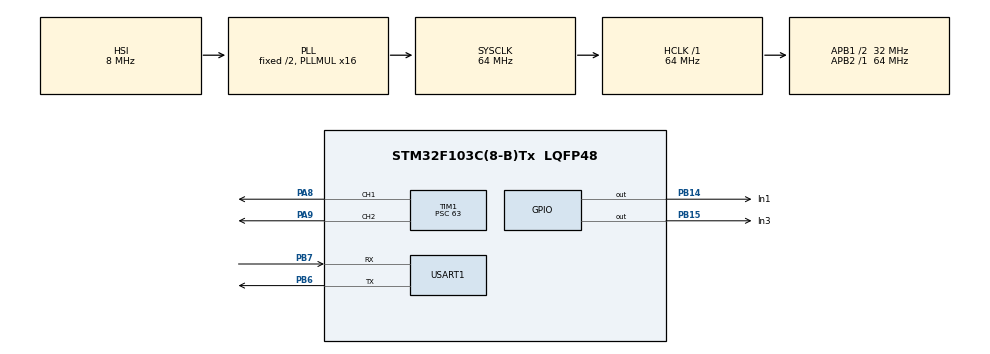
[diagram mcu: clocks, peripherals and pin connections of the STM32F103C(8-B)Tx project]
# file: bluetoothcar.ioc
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Mcu.Family=STM32F1
Mcu.Name=STM32F103C(8-B)Tx
Mcu.Package=LQFP48
NVIC.PriorityGroup=NVIC_PRIORITYGROUP_4
NVIC.USART1_IRQn=true\:1\:0\:true\:false\:true\:true\:true\:true
PA13.Mode=Serial_Wire
PA13.Signal=SYS_JTMS-SWDIO
PA14.Mode=Serial_Wire
PA14.Signal=SYS_JTCK-SWCLK
PA8.Signal=S_TIM1_CH1
PA9.Signal=S_TIM1_CH2
PB14.GPIO_Label=In1
PB14.Signal=GPIO_Output
PB15.GPIO_Label=In3
PB15.Signal=GPIO_Output
PB6.Mode=Asynchronous
PB6.Signal=USART1_TX
PB7.Mode=Asynchronous
PB7.Signal=USART1_RX
ProjectManager.HeapSize=0x200
ProjectManager.StackSize=0x400
ProjectManager.TargetToolchain=STM32CubeIDE
RCC.AHBFreq_Value=64000000
RCC.APB1CLKDivider=RCC_HCLK_DIV2
RCC.APB1Freq_Value=32000000
RCC.APB1TimFreq_Value=64000000
RCC.APB2Freq_Value=64000000
RCC.APB2TimFreq_Value=64000000
RCC.HCLKFreq_Value=64000000
RCC.PLLMUL=RCC_PLL_MUL16
RCC.SYSCLKFreq_VALUE=64000000
RCC.SYSCLKSource=RCC_SYSCLKSOURCE_PLLCLK
RCC.USBFreq_Value=64000000
SH.S_TIM1_CH1.0=TIM1_CH1,PWM Generation1 CH1
SH.S_TIM1_CH2.0=TIM1_CH2,PWM Generation2 CH2
TIM1.Channel-PWM\ Generation1\ CH1=TIM_CHANNEL_1
TIM1.Channel-PWM\ Generation2\ CH2=TIM_CHANNEL_2
TIM1.Period=999
TIM1.Prescaler=63
TIM2.Period=999
TIM2.Prescaler=63
USART1.VirtualMode=VM_ASYNC
VP_TIM1_VS_ClockSourceINT.Mode=Internal
VP_TIM2_VS_ClockSourceINT.Mode=Internal
board=custom

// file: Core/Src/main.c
/* USER CODE BEGIN Header */
/**
  ******************************************************************************
  * @file           : main.c
  * @brief          : Main program body
  ******************************************************************************
  * @attention
  *
  * Copyright (c) 2024 STMicroelectronics.
  * All rights reserved.
  *
  * This software is licensed under terms that can be found in the LICENSE file
  * in the root directory of this software component.
  * If no LICENSE file comes with this software, it is provided AS-IS.
  *
  ******************************************************************************
  */
/* USER CODE END Header */
#include "main.h"

/* USER CODE BEGIN Includes */
#include "motor.h"

#include "car.h"
/* USER CODE END Includes */

TIM_HandleTypeDef htim1;
TIM_HandleTypeDef htim2;

UART_HandleTypeDef huart1;
uint8_t uart_flag = 0;
uint8_t RxData;
uint8_t speed;

void SystemClock_Config(void);
static void MX_GPIO_Init(void);
static void MX_TIM1_Init(void);
static void MX_TIM2_Init(void);
static void MX_USART1_UART_Init(void);

/* USER CODE BEGIN 0 */

void HAL_UART_RxCpltCallback(UART_HandleTypeDef *huart)
{
	if(uart_flag==0)
	{
		uart_flag = 1;
		HAL_UART_Receive_IT(&huart1, &RxData, 1);
	}

}
void uart_handle(uint8_t Data)
{

	if(uart_flag)
	{
		switch (Data)
			{
			case 'S':
				{
					Car_Control(Car_stop, 0);
					break;
				}
			case 'F':
				{
					Car_Control(Car_Forward, speed);
					break;
				}
			case 'B':
				{
					Car_Control(Car_Backward, speed);
					break;
				}
			case 'L':
				{
					Car_Control(Car_Left, speed);
					break;
				}
			case 'R':
				{
					Car_Control(Car_Right, speed);
					break;
				}
			default:
				{
					if(Data >='0' && Data <= '9')
					{
						speed = Data -'0';
					}
					if(Data == 'q')
					{
						speed = 10;
					}
				}
			}
		uart_flag = 0;
	}

}

/* USER CODE END 0 */

int main(void)
{

  /* MCU Configuration--------------------------------------------------------*/

  /* Reset of all peripherals, Initializes the Flash interface and the Systick. */
  HAL_Init();

  /* Configure the system clock */
  SystemClock_Config();

  /* Initialize all configured peripherals */
  MX_GPIO_Init();
  MX_TIM1_Init();
  MX_TIM2_Init();
  MX_USART1_UART_Init();
  /* USER CODE BEGIN 2 */
  Car_Init();
  HAL_UART_Receive_IT(&huart1, &RxData, 1);
  /* USER CODE END 2 */

  /* Infinite loop */
  while (1)
  {

    /* USER CODE BEGIN 3 */
	  uart_handle(RxData);

  }
  /* USER CODE END 3 */
}

void SystemClock_Config(void)
{
  RCC_OscInitTypeDef RCC_OscInitStruct = {0};
  RCC_ClkInitTypeDef RCC_ClkInitStruct = {0};

  /** Initializes the RCC Oscillators according to the specified parameters
  * in the RCC_OscInitTypeDef structure.
  */
  RCC_OscInitStruct.OscillatorType = RCC_OSCILLATORTYPE_HSI;
  RCC_OscInitStruct.HSIState = RCC_HSI_ON;
  RCC_OscInitStruct.HSICalibrationValue = RCC_HSICALIBRATION_DEFAULT;
  RCC_OscInitStruct.PLL.PLLState = RCC_PLL_ON;
  RCC_OscInitStruct.PLL.PLLSource = RCC_PLLSOURCE_HSI_DIV2;
  RCC_OscInitStruct.PLL.PLLMUL = RCC_PLL_MUL16;
  if (HAL_RCC_OscConfig(&RCC_OscInitStruct) != HAL_OK)
  {
    Error_Handler();
  }

  /** Initializes the CPU, AHB and APB buses clocks
  */
  RCC_ClkInitStruct.ClockType = RCC_CLOCKTYPE_HCLK|RCC_CLOCKTYPE_SYSCLK
                              |RCC_CLOCKTYPE_PCLK1|RCC_CLOCKTYPE_PCLK2;
  RCC_ClkInitStruct.SYSCLKSource = RCC_SYSCLKSOURCE_PLLCLK;
  RCC_ClkInitStruct.AHBCLKDivider = RCC_SYSCLK_DIV1;
  RCC_ClkInitStruct.APB1CLKDivider = RCC_HCLK_DIV2;
  RCC_ClkInitStruct.APB2CLKDivider = RCC_HCLK_DIV1;

  if (HAL_RCC_ClockConfig(&RCC_ClkInitStruct, FLASH_LATENCY_2) != HAL_OK)
  {
    Error_Handler();
  }
}

static void MX_TIM1_Init(void)
{

  TIM_ClockConfigTypeDef sClockSourceConfig = {0};
  TIM_MasterConfigTypeDef sMasterConfig = {0};
  TIM_OC_InitTypeDef sConfigOC = {0};
  TIM_BreakDeadTimeConfigTypeDef sBreakDeadTimeConfig = {0};

  htim1.Instance = TIM1;
  htim1.Init.Prescaler = 63;
  htim1.Init.CounterMode = TIM_COUNTERMODE_UP;
  htim1.Init.Period = 999;
  htim1.Init.ClockDivision = TIM_CLOCKDIVISION_DIV1;
  htim1.Init.RepetitionCounter = 0;
  htim1.Init.AutoReloadPreload = TIM_AUTORELOAD_PRELOAD_DISABLE;
  if (HAL_TIM_Base_Init(&htim1) != HAL_OK)
  {
    Error_Handler();
  }
  sClockSourceConfig.ClockSource = TIM_CLOCKSOURCE_INTERNAL;
  if (HAL_TIM_ConfigClockSource(&htim1, &sClockSourceConfig) != HAL_OK)
  {
    Error_Handler();
  }
  if (HAL_TIM_PWM_Init(&htim1) != HAL_OK)
  {
    Error_Handler();
  }
  sMasterConfig.MasterOutputTrigger = TIM_TRGO_RESET;
  sMasterConfig.MasterSlaveMode = TIM_MASTERSLAVEMODE_DISABLE;
  if (HAL_TIMEx_MasterConfigSynchronization(&htim1, &sMasterConfig) != HAL_OK)
  {
    Error_Handler();
  }
  sConfigOC.OCMode = TIM_OCMODE_PWM1;
  sConfigOC.Pulse = 0;
  sConfigOC.OCPolarity = TIM_OCPOLARITY_HIGH;
  sConfigOC.OCNPolarity = TIM_OCNPOLARITY_HIGH;
  sConfigOC.OCFastMode = TIM_OCFAST_DISABLE;
  sConfigOC.OCIdleState = TIM_OCIDLESTATE_RESET;
  sConfigOC.OCNIdleState = TIM_OCNIDLESTATE_RESET;
  if (HAL_TIM_PWM_ConfigChannel(&htim1, &sConfigOC, TIM_CHANNEL_1) != HAL_OK)
  {
    Error_Handler();
  }
  if (HAL_TIM_PWM_ConfigChannel(&htim1, &sConfigOC, TIM_CHANNEL_2) != HAL_OK)
  {
    Error_Handler();
  }
  sBreakDeadTimeConfig.OffStateRunMode = TIM_OSSR_DISABLE;
  sBreakDeadTimeConfig.OffStateIDLEMode = TIM_OSSI_DISABLE;
  sBreakDeadTimeConfig.LockLevel = TIM_LOCKLEVEL_OFF;
  sBreakDeadTimeConfig.DeadTime = 0;
  sBreakDeadTimeConfig.BreakState = TIM_BREAK_DISABLE;
  sBreakDeadTimeConfig.BreakPolarity = TIM_BREAKPOLARITY_HIGH;
  sBreakDeadTimeConfig.AutomaticOutput = TIM_AUTOMATICOUTPUT_DISABLE;
  if (HAL_TIMEx_ConfigBreakDeadTime(&htim1, &sBreakDeadTimeConfig) != HAL_OK)
  {
    Error_Handler();
  }
  HAL_TIM_MspPostInit(&htim1);

}

static void MX_TIM2_Init(void)
{

  TIM_ClockConfigTypeDef sClockSourceConfig = {0};
  TIM_MasterConfigTypeDef sMasterConfig = {0};

  htim2.Instance = TIM2;
  htim2.Init.Prescaler = 63;
  htim2.Init.CounterMode = TIM_COUNTERMODE_UP;
  htim2.Init.Period = 999;
  htim2.Init.ClockDivision = TIM_CLOCKDIVISION_DIV1;
  htim2.Init.AutoReloadPreload = TIM_AUTORELOAD_PRELOAD_DISABLE;
  if (HAL_TIM_Base_Init(&htim2) != HAL_OK)
  {
    Error_Handler();
  }
  sClockSourceConfig.ClockSource = TIM_CLOCKSOURCE_INTERNAL;
  if (HAL_TIM_ConfigClockSource(&htim2, &sClockSourceConfig) != HAL_OK)
  {
    Error_Handler();
  }
  sMasterConfig.MasterOutputTrigger = TIM_TRGO_RESET;
  sMasterConfig.MasterSlaveMode = TIM_MASTERSLAVEMODE_DISABLE;
  if (HAL_TIMEx_MasterConfigSynchronization(&htim2, &sMasterConfig) != HAL_OK)
  {
    Error_Handler();
  }

}

static void MX_USART1_UART_Init(void)
{

  huart1.Instance = USART1;
  huart1.Init.BaudRate = 115200;
  huart1.Init.WordLength = UART_WORDLENGTH_8B;
  huart1.Init.StopBits = UART_STOPBITS_1;
  huart1.Init.Parity = UART_PARITY_NONE;
  huart1.Init.Mode = UART_MODE_TX_RX;
  huart1.Init.HwFlowCtl = UART_HWCONTROL_NONE;
  huart1.Init.OverSampling = UART_OVERSAMPLING_16;
  if (HAL_UART_Init(&huart1) != HAL_OK)
  {
    Error_Handler();
  }

}

static void MX_GPIO_Init(void)
{
  GPIO_InitTypeDef GPIO_InitStruct = {0};

  /* GPIO Ports Clock Enable */
  __HAL_RCC_GPIOB_CLK_ENABLE();
  __HAL_RCC_GPIOA_CLK_ENABLE();

  /*Configure GPIO pin Output Level */
  HAL_GPIO_WritePin(GPIOB, In1_Pin|In3_Pin, GPIO_PIN_RESET);

  /*Configure GPIO pins : In1_Pin In3_Pin */
  GPIO_InitStruct.Pin = In1_Pin|In3_Pin;
  GPIO_InitStruct.Mode = GPIO_MODE_OUTPUT_PP;
  GPIO_InitStruct.Pull = GPIO_NOPULL;
  GPIO_InitStruct.Speed = GPIO_SPEED_FREQ_LOW;
  HAL_GPIO_Init(GPIOB, &GPIO_InitStruct);

}

void Error_Handler(void)
{
  __disable_irq();
  while (1)
  {
  }
}
